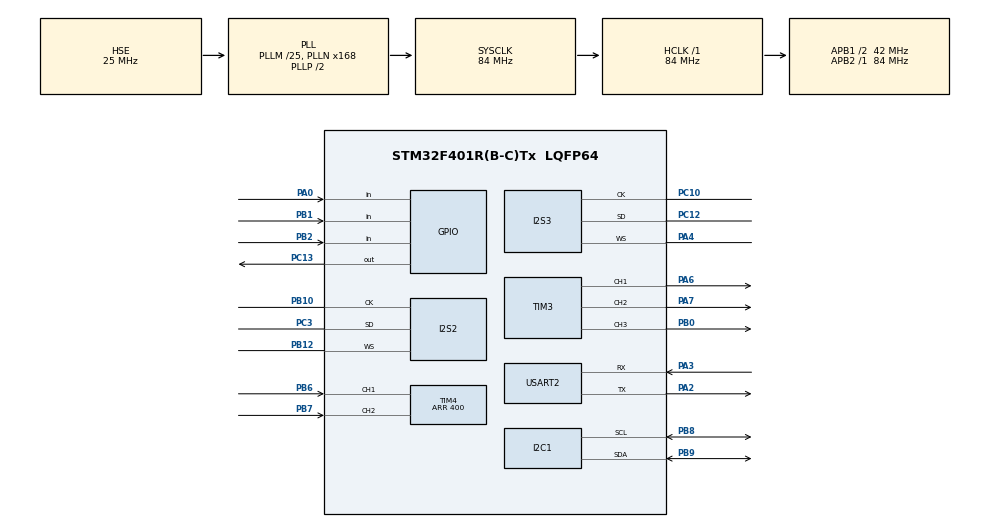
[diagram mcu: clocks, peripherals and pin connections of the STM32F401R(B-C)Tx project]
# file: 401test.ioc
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Dma.I2C1_TX.0.Direction=DMA_MEMORY_TO_PERIPH
Dma.I2C1_TX.0.FIFOMode=DMA_FIFOMODE_DISABLE
Dma.I2C1_TX.0.Instance=DMA1_Stream6
Dma.I2C1_TX.0.MemDataAlignment=DMA_MDATAALIGN_BYTE
Dma.I2C1_TX.0.MemInc=DMA_MINC_ENABLE
Dma.I2C1_TX.0.Mode=DMA_NORMAL
Dma.I2C1_TX.0.PeriphDataAlignment=DMA_PDATAALIGN_BYTE
Dma.I2C1_TX.0.PeriphInc=DMA_PINC_DISABLE
Dma.I2C1_TX.0.Priority=DMA_PRIORITY_LOW
Dma.Request0=I2C1_TX
I2C1.I2C_Mode=I2C_Fast
I2S2.ErrorAudioFreq=0.0 %
I2S2.FullDuplexMode=I2S_FULLDUPLEXMODE_DISABLE
I2S2.Instance=SPI$Index
I2S2.RealAudioFreq=8.0 KHz
I2S2.VirtualMode=I2S_MODE_SLAVE
I2S3.ErrorAudioFreq=0.0 %
I2S3.FullDuplexMode=I2S_FULLDUPLEXMODE_DISABLE
I2S3.Instance=SPI$Index
I2S3.RealAudioFreq=8.0 KHz
I2S3.VirtualMode=I2S_MODE_SLAVE
Mcu.Family=STM32F4
Mcu.Name=STM32F401R(B-C)Tx
Mcu.Package=LQFP64
NVIC.DMA1_Stream6_IRQn=true\:0\:0\:false\:false\:true\:false\:true\:true
NVIC.I2C1_ER_IRQn=true\:0\:0\:false\:false\:true\:true\:true\:true
NVIC.I2C1_EV_IRQn=true\:0\:0\:false\:false\:true\:true\:true\:true
NVIC.PriorityGroup=NVIC_PRIORITYGROUP_4
NVIC.TIM1_UP_TIM10_IRQn=true\:0\:0\:false\:false\:true\:true\:true\:true
PA0-WKUP.GPIO_PuPd=GPIO_PULLUP
PA0-WKUP.Signal=GPIO_Input
PA2.Mode=Asynchronous
PA2.Signal=USART2_TX
PA3.Mode=Asynchronous
PA3.Signal=USART2_RX
PA4.Mode=Half_Duplex_Slave
PA4.Signal=I2S3_WS
PA6.Signal=S_TIM3_CH1
PA7.Signal=S_TIM3_CH2
PB0.Signal=S_TIM3_CH3
PB1.GPIO_PuPd=GPIO_PULLUP
PB1.Signal=GPIO_Input
PB10.Mode=Half_Duplex_Slave
PB10.Signal=I2S2_CK
PB12.Mode=Half_Duplex_Slave
PB12.Signal=I2S2_WS
PB2.GPIO_PuPd=GPIO_PULLDOWN
PB2.Signal=GPIO_Input
PB6.Signal=S_TIM4_CH1
PB7.Signal=S_TIM4_CH2
PB8.GPIO_Pu=GPIO_PULLUP
PB8.Mode=I2C
PB8.Signal=I2C1_SCL
PB9.GPIO_Pu=GPIO_PULLUP
PB9.Mode=I2C
PB9.Signal=I2C1_SDA
PC10.Mode=Half_Duplex_Slave
PC10.Signal=I2S3_CK
PC12.Mode=Half_Duplex_Slave
PC12.Signal=I2S3_SD
PC13-ANTI_TAMP.PinState=GPIO_PIN_SET
PC13-ANTI_TAMP.Signal=GPIO_Output
PC14-OSC32_IN.Mode=LSE-External-Oscillator
PC14-OSC32_IN.Signal=RCC_OSC32_IN
PC15-OSC32_OUT.Mode=LSE-External-Oscillator
PC15-OSC32_OUT.Signal=RCC_OSC32_OUT
PC3.Mode=Half_Duplex_Slave
PC3.Signal=I2S2_SD
PH0\ -\ OSC_IN.Mode=HSE-External-Oscillator
PH0\ -\ OSC_IN.Signal=RCC_OSC_IN
PH1\ -\ OSC_OUT.Mode=HSE-External-Oscillator
PH1\ -\ OSC_OUT.Signal=RCC_OSC_OUT
ProjectManager.HeapSize=0x200
ProjectManager.StackSize=0x400
ProjectManager.TargetToolchain=STM32CubeIDE
RCC.48MHZClocksFreq_Value=42000000
RCC.AHBFreq_Value=84000000
RCC.APB1CLKDivider=RCC_HCLK_DIV2
RCC.APB1Freq_Value=42000000
RCC.APB1TimFreq_Value=84000000
RCC.APB2Freq_Value=84000000
RCC.APB2TimFreq_Value=84000000
RCC.CortexFreq_Value=84000000
RCC.HCLKFreq_Value=84000000
RCC.HSE_VALUE=25000000
RCC.HSI_VALUE=16000000
RCC.PLLI2SR=5
RCC.PLLM=25
RCC.PLLN=168
RCC.PLLSourceVirtual=RCC_PLLSOURCE_HSE
RCC.SYSCLKFreq_VALUE=84000000
RCC.SYSCLKSource=RCC_SYSCLKSOURCE_PLLCLK
RCC.VCOOutputFreq_Value=168000000
SH.S_TIM3_CH1.0=TIM3_CH1,PWM Generation1 CH1
SH.S_TIM3_CH2.0=TIM3_CH2,PWM Generation2 CH2
SH.S_TIM3_CH3.0=TIM3_CH3,PWM Generation3 CH3
SH.S_TIM4_CH1.0=TIM4_CH1,Encoder_Interface
SH.S_TIM4_CH2.0=TIM4_CH2,Encoder_Interface
TIM10.AutoReloadPreload=TIM_AUTORELOAD_PRELOAD_ENABLE
TIM10.ClockDivision=TIM_CLOCKDIVISION_DIV1
TIM10.Period=2800-1
TIM10.Prescaler=1000-1
TIM3.Channel-PWM\ Generation1\ CH1=TIM_CHANNEL_1
TIM3.Channel-PWM\ Generation2\ CH2=TIM_CHANNEL_2
TIM3.Channel-PWM\ Generation3\ CH3=TIM_CHANNEL_3
TIM4.EncoderMode=TIM_ENCODERMODE_TI12
TIM4.IC1Filter=10
TIM4.IC2Filter=10
TIM4.Period=400
USART2.VirtualMode=VM_ASYNC
VP_TIM10_VS_ClockSourceINT.Mode=Enable_Timer
VP_TIM3_VS_ClockSourceINT.Mode=Internal
board=custom

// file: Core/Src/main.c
/* USER CODE BEGIN Header */
/**
  ******************************************************************************
  * @file           : main.c
  * @brief          : Main program body
  ******************************************************************************
  * @attention
  *
  * Copyright (c) 2025 STMicroelectronics.
  * All rights reserved.
  *
  * This software is licensed under terms that can be found in the LICENSE file
  * in the root directory of this software component.
  * If no LICENSE file comes with this software, it is provided AS-IS.
  *
  ******************************************************************************
  */
/* USER CODE END Header */
#include "main.h"
#include "dma.h"
#include "i2c.h"
#include "i2s.h"
#include "tim.h"
#include "usart.h"
#include "gpio.h"

/* USER CODE BEGIN Includes */
#include <stdbool.h>
#include <stdio.h>

#include "display.h"
#include "gpio_button.h"
#include "rotary_encoder.h"

#include "app_state_machine.h"
/* USER CODE END Includes */

/* USER CODE BEGIN PV */
static uint8_t framebuffer[512];

static const display_t ssd1306_128x32 = {
  .w = 128,
  .h = 32,
  .buf_sz = sizeof(framebuffer),
  .buf = framebuffer,
};

GPIO_Button ubtn = GPIO_BUTTON(GPIOA, GPIO_PIN_0, GPIO_PIN_RESET);
GPIO_Button btn1 = GPIO_BUTTON(GPIOB, GPIO_PIN_1, GPIO_PIN_RESET);
// pull-up resistor seems to be dead on pin B2, so use pull-down
GPIO_Button btn2 = GPIO_BUTTON(GPIOB, GPIO_PIN_2, GPIO_PIN_SET);

static RotaryEncoder renc = ROTARY_ENCODER(TIM4);

static volatile bool time_to_render = true;

enum i2c_transfer_state_t {
  I2C_STATE_TRANSFER_CTRL_BYTES = 0x01,
  I2C_STATE_TRANSFER_DATA_BYTES = 0x02,
};

static volatile uint8_t i2c_state = 0u;
static volatile uint32_t fts = 0;
static volatile uint32_t ftt = 0;
/* USER CODE END PV */

void SystemClock_Config(void);
void PeriphCommonClock_Config(void);

/* USER CODE BEGIN 0 */
static void ssd1306_write_cmd_byte(uint8_t addr, uint8_t cmd)
{
  uint8_t data[] = {0x00, cmd};
  HAL_I2C_Master_Transmit(&hi2c1, addr << 1, data, sizeof(data), 1);
}

static void ssd1306_write_cmd_bytes(uint8_t addr,
                                    const uint8_t* bytes, unsigned int count)
{
  for (unsigned int i = 0; i < count; i++)
    ssd1306_write_cmd_byte(addr, bytes[i]);
}

static void ssd1306_init()
{
  // 128x32 display is assumed, must be adjusted for another one
  const uint8_t init_seq[] = {
    // the sequence is according to datasheet
    0xA8, 0x1F,                 // MUX Ratio, 31 (H - 1)
    0xD3, 0x00,			// display offset, 0
    0x40 | 0x00,		// display start line, 0
    0xA0 | 0x01,                // segment (column) re-map (A0/A1)
    0xC0 | 0x08,                // scan direction (C0/C8)
    0xDA, 0x02,                 // wiring configuration
    0x81, 0x7F,			// contrast
    0xA4,			// follow RAM
    0xA6,			// normal/inverse (A6/A7)
    0xD5, 0x80,			// oscillator frequency
    0x8D, 0x14,			// charge pump regulator
    0xAF,			// display on
    // addressing
    0x20, 0x01,                 // vertical scanning
    0x21, 0x00, 0x7F,           // column start/end, [0, 127] (W - 1)
    0x22, 0x00, 0x03,           // page start/end, [0, 3] (H/8 - 1)
  };
  ssd1306_write_cmd_bytes(0x3C, init_seq, sizeof(init_seq));
}

static void button_m_handle_short_press()
{
  printf("%s\n", __FUNCTION__);
  app_sm.curr_state->api->button_m(&app_state_data);
}

static void button_1_handle_short_press()
{
  printf("%s\n", __FUNCTION__);
  app_sm.curr_state->api->button_1(&app_state_data);
}

static void button_2_handle_short_press()
{
  printf("%s\n", __FUNCTION__);
  app_sm.curr_state->api->button_2(&app_state_data);
}

static void value_changed_handler(uint32_t val)
{
  val >>= 1;
//  val = val * 1000 / (TIM4->ARR / 2);
  printf("encoder value: %lu\n", val);
  if (app_sm.curr_state->api->encoder_value)
    app_sm.curr_state->api->encoder_value(&app_state_data, val);
}
/* USER CODE END 0 */

int main(void)
{

  /* USER CODE BEGIN 1 */
  ubtn.click_handler = &button_m_handle_short_press;

  btn1.mode = GPIO_BUTTON_MODE_REPEAT;
  btn2.mode = GPIO_BUTTON_MODE_REPEAT;

  btn1.click_handler = &button_1_handle_short_press;
  btn2.click_handler = &button_2_handle_short_press;

  renc.value_changed_handler = &value_changed_handler;
  /* USER CODE END 1 */

  /* MCU Configuration--------------------------------------------------------*/

  /* Reset of all peripherals, Initializes the Flash interface and the Systick. */
  HAL_Init();

  /* Configure the system clock */
  SystemClock_Config();

  /* Configure the peripherals common clocks */
  PeriphCommonClock_Config();

  /* Initialize all configured peripherals */
  MX_GPIO_Init();
  MX_DMA_Init();
  MX_I2S2_Init();
  MX_I2S3_Init();
  MX_TIM3_Init();
  MX_I2C1_Init();
  MX_TIM10_Init();
  MX_USART2_UART_Init();
  MX_TIM4_Init();
  /* USER CODE BEGIN 2 */
  HAL_TIM_Encoder_Start(&htim4, TIM_CHANNEL_ALL);
  HAL_Delay(10);  // some delay is required to get display work from cold start
  ssd1306_init();
  HAL_TIM_Base_Start_IT(&htim10);
  app_state_machine_init();
  /* USER CODE END 2 */

  /* Infinite loop */
  /* USER CODE BEGIN WHILE */
  uint32_t lt = HAL_GetTick();
  while (1)
  {
    GPIO_ButtonCheckState(&ubtn);
    GPIO_ButtonCheckState(&btn1);
    GPIO_ButtonCheckState(&btn2);
    RotaryEncoderGetValue(&renc);

    if (time_to_render && i2c_state == 0) {
      uint32_t rst = HAL_GetTick();
      uint32_t lft = rst - lt;
      app_sm.curr_state->api->render(&app_state_data, &ssd1306_128x32);
      uint32_t ret = HAL_GetTick();
      uint32_t frt = ret - rst;
      time_to_render = false;
      printf("since last frame: %4lu ms  rendering: %2lu ms  transfer: %lu ms\n", lft, frt, ftt);
      lt = ret;

      uint8_t ctr_byte = 0x40;
      i2c_state |= I2C_STATE_TRANSFER_CTRL_BYTES;
      fts = HAL_GetTick();
      HAL_I2C_Master_Seq_Transmit_DMA(&hi2c1, 0x3C << 1, &ctr_byte, 1, I2C_FIRST_AND_NEXT_FRAME);
    }
    /* USER CODE END WHILE */

  }
}

void SystemClock_Config(void)
{
  RCC_OscInitTypeDef RCC_OscInitStruct = {0};
  RCC_ClkInitTypeDef RCC_ClkInitStruct = {0};

  /** Configure the main internal regulator output voltage
  */
  __HAL_RCC_PWR_CLK_ENABLE();
  __HAL_PWR_VOLTAGESCALING_CONFIG(PWR_REGULATOR_VOLTAGE_SCALE2);

  /** Initializes the RCC Oscillators according to the specified parameters
  * in the RCC_OscInitTypeDef structure.
  */
  RCC_OscInitStruct.OscillatorType = RCC_OSCILLATORTYPE_HSE;
  RCC_OscInitStruct.HSEState = RCC_HSE_ON;
  RCC_OscInitStruct.PLL.PLLState = RCC_PLL_ON;
  RCC_OscInitStruct.PLL.PLLSource = RCC_PLLSOURCE_HSE;
  RCC_OscInitStruct.PLL.PLLM = 25;
  RCC_OscInitStruct.PLL.PLLN = 168;
  RCC_OscInitStruct.PLL.PLLP = RCC_PLLP_DIV2;
  RCC_OscInitStruct.PLL.PLLQ = 4;
  if (HAL_RCC_OscConfig(&RCC_OscInitStruct) != HAL_OK)
  {
    Error_Handler();
  }

  /** Initializes the CPU, AHB and APB buses clocks
  */
  RCC_ClkInitStruct.ClockType = RCC_CLOCKTYPE_HCLK|RCC_CLOCKTYPE_SYSCLK
                              |RCC_CLOCKTYPE_PCLK1|RCC_CLOCKTYPE_PCLK2;
  RCC_ClkInitStruct.SYSCLKSource = RCC_SYSCLKSOURCE_PLLCLK;
  RCC_ClkInitStruct.AHBCLKDivider = RCC_SYSCLK_DIV1;
  RCC_ClkInitStruct.APB1CLKDivider = RCC_HCLK_DIV2;
  RCC_ClkInitStruct.APB2CLKDivider = RCC_HCLK_DIV1;

  if (HAL_RCC_ClockConfig(&RCC_ClkInitStruct, FLASH_LATENCY_2) != HAL_OK)
  {
    Error_Handler();
  }
}

void PeriphCommonClock_Config(void)
{
  RCC_PeriphCLKInitTypeDef PeriphClkInitStruct = {0};

  /** Initializes the peripherals clock
  */
  PeriphClkInitStruct.PeriphClockSelection = RCC_PERIPHCLK_I2S;
  PeriphClkInitStruct.PLLI2S.PLLI2SN = 192;
  PeriphClkInitStruct.PLLI2S.PLLI2SR = 5;
  if (HAL_RCCEx_PeriphCLKConfig(&PeriphClkInitStruct) != HAL_OK)
  {
    Error_Handler();
  }
}

/* USER CODE BEGIN 4 */
void HAL_TIM_PeriodElapsedCallback(TIM_HandleTypeDef* htim)
{
  time_to_render = true;
//  static const int ticks_on = 4;
//  static const int ticks_off = 150;
//  static int ticks_to_wait = ticks_off;
//  static int ticks_counter = 0;
//  if (++ticks_counter == ticks_to_wait) {
//    ticks_counter = 0;
//    ticks_to_wait = ticks_to_wait == ticks_off ? ticks_on : ticks_off;
    HAL_GPIO_TogglePin(GPIOC, GPIO_PIN_13);
//  }
}

void HAL_I2C_MasterTxCpltCallback(I2C_HandleTypeDef *hi2c)
{
  if (i2c_state & I2C_STATE_TRANSFER_CTRL_BYTES) {
    i2c_state &= ~I2C_STATE_TRANSFER_CTRL_BYTES;
    i2c_state |= I2C_STATE_TRANSFER_DATA_BYTES;
    HAL_I2C_Master_Seq_Transmit_DMA(hi2c, 0x3C << 1, framebuffer, 512, I2C_LAST_FRAME);
    return;
  }

  if (i2c_state & I2C_STATE_TRANSFER_DATA_BYTES) {
    i2c_state &= ~I2C_STATE_TRANSFER_DATA_BYTES;
    ftt = HAL_GetTick() - fts;
    return;
  }
}
/* USER CODE END 4 */

void Error_Handler(void)
{
  __disable_irq();
  while (1)
  {
  }
}
